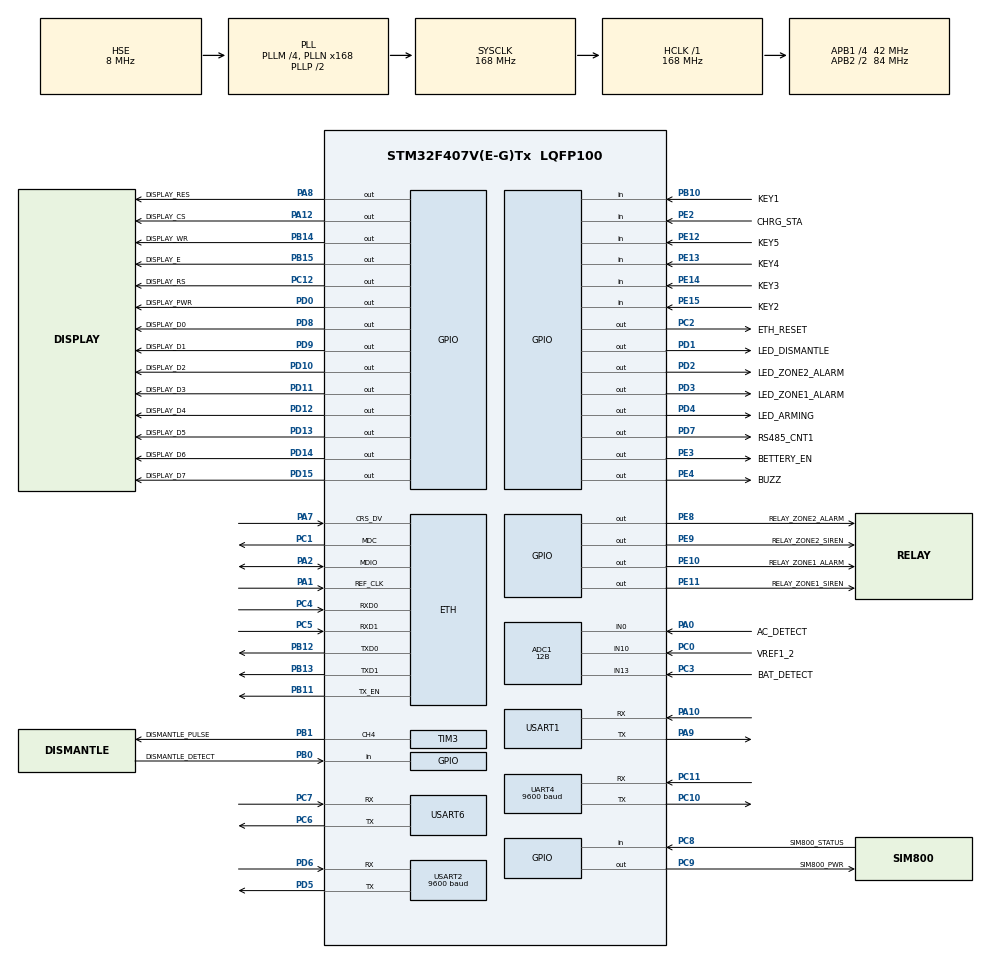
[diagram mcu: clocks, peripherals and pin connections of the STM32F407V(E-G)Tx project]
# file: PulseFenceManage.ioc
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ADC1.Channel-4\#ChannelRegularConversion=ADC_CHANNEL_13
ADC1.ClockPrescaler=ADC_CLOCK_SYNC_PCLK_DIV4
ADC1.ContinuousConvMode=DISABLE
ADC1.DMAContinuousRequests=DISABLE
ADC1.DataAlign=ADC_DATAALIGN_RIGHT
ADC1.DiscontinuousConvMode=DISABLE
ADC1.EOCSelection=ADC_EOC_SINGLE_CONV
ADC1.EnableAnalogWatchDog=false
ADC1.ExternalTrigConv=ADC_SOFTWARE_START
ADC1.ExternalTrigConvEdge=ADC_EXTERNALTRIGCONVEDGE_NONE
ADC1.InjNumberOfConversion=0
ADC1.NbrOfConversion=1
ADC1.NbrOfConversionFlag=1
ADC1.Rank-4\#ChannelRegularConversion=1
ADC1.Resolution=ADC_RESOLUTION_12B
ADC1.SamplingTime-4\#ChannelRegularConversion=ADC_SAMPLETIME_480CYCLES
ADC1.ScanConvMode=DISABLE
ADC1.master=1
ETH.AutoNegotiation=ETH_AUTONEGOTIATION_ENABLE
ETH.MediaInterface=ETH_MEDIA_INTERFACE_RMII
ETH.PHY_DUPLEX_STATUS=0x0010
ETH.PHY_Name_RMII=userPHY
ETH.PHY_SPEED_STATUS=0x0004
ETH.PHY_SR=0x31
ETH.PHY_User_Name=LAN8720A_PHY_ADRESS
ETH.PhyAddress=0
LWIP.GATEWAY_ADDRESS=192.168.019.001
LWIP.IP_ADDRESS=192.168.019.010
LWIP.LWIP_DHCP=0
LWIP.LWIP_TCP=1
LWIP.LWIP_UDP=1
LWIP.NETMASK_ADDRESS=255.255.255.000
LWIP.Version=v2.0.3_Cube
Mcu.Family=STM32F4
Mcu.Name=STM32F407V(E-G)Tx
Mcu.Package=LQFP100
NVIC.ETH_IRQn=true\:0\:0\:false\:false\:true\:true
NVIC.PriorityGroup=NVIC_PRIORITYGROUP_4
NVIC.TIM1_UP_TIM10_IRQn=true\:3\:0\:true\:true\:true\:4\:true
NVIC.UART4_IRQn=true\:2\:0\:true\:true\:true\:3\:true
NVIC.USART1_IRQn=true\:1\:0\:true\:true\:true\:1\:true
NVIC.USART2_IRQn=true\:2\:0\:true\:true\:true\:2\:true
NVIC.USART6_IRQn=true\:2\:0\:true\:false\:true\:true
PA0-WKUP.GPIO_Label=AC_DETECT
PA0-WKUP.Signal=ADCx_IN0
PA1.Mode=RMII
PA1.Signal=ETH_REF_CLK
PA10.Mode=Asynchronous
PA10.Signal=USART1_RX
PA12.GPIO_Label=DISPLAY_CS
PA12.GPIO_ModeDefaultOutputPP=GPIO_MODE_OUTPUT_PP
PA12.GPIO_PuPd=GPIO_NOPULL
PA12.GPIO_Speed=GPIO_SPEED_FREQ_HIGH
PA12.PinState=GPIO_PIN_SET
PA12.Signal=GPIO_Output
PA13.Mode=Trace_Asynchronous_SW
PA13.Signal=SYS_JTMS-SWDIO
PA14.Mode=Trace_Asynchronous_SW
PA14.Signal=SYS_JTCK-SWCLK
PA2.Mode=RMII
PA2.Signal=ETH_MDIO
PA7.Mode=RMII
PA7.Signal=ETH_CRS_DV
PA8.GPIO_Label=DISPLAY_RES
PA8.GPIO_ModeDefaultOutputPP=GPIO_MODE_OUTPUT_PP
PA8.GPIO_PuPd=GPIO_NOPULL
PA8.GPIO_Speed=GPIO_SPEED_FREQ_HIGH
PA8.PinState=GPIO_PIN_RESET
PA8.Signal=GPIO_Output
PA9.Mode=Asynchronous
PA9.Signal=USART1_TX
PB0.GPIO_Label=DISMANTLE_DETECT
PB0.Signal=GPIO_Input
PB1.GPIO_Label=DISMANTLE_PULSE
PB1.Signal=S_TIM3_CH4
PB10.GPIO_Label=KEY1
PB10.GPIO_PuPd=GPIO_PULLUP
PB10.Signal=GPIO_Input
PB11.Mode=RMII
PB11.Signal=ETH_TX_EN
PB12.Mode=RMII
PB12.Signal=ETH_TXD0
PB13.Mode=RMII
PB13.Signal=ETH_TXD1
PB14.GPIO_Label=DISPLAY_WR
PB14.GPIO_ModeDefaultOutputPP=GPIO_MODE_OUTPUT_PP
PB14.GPIO_PuPd=GPIO_NOPULL
PB14.GPIO_Speed=GPIO_SPEED_FREQ_HIGH
PB14.PinState=GPIO_PIN_SET
PB14.Signal=GPIO_Output
PB15.GPIO_Label=DISPLAY_E
PB15.GPIO_ModeDefaultOutputPP=GPIO_MODE_OUTPUT_PP
PB15.GPIO_PuPd=GPIO_NOPULL
PB15.GPIO_Speed=GPIO_SPEED_FREQ_HIGH
PB15.PinState=GPIO_PIN_SET
PB15.Signal=GPIO_Output
PB3.Mode=Trace_Asynchronous_SW
PB3.Signal=SYS_JTDO-SWO
PC0.GPIO_Label=VREF1_2
PC0.Signal=ADCx_IN10
PC1.Mode=RMII
PC1.Signal=ETH_MDC
PC10.Mode=Asynchronous
PC10.Signal=UART4_TX
PC11.Mode=Asynchronous
PC11.Signal=UART4_RX
PC12.GPIO_Label=DISPLAY_RS
PC12.GPIO_Speed=GPIO_SPEED_FREQ_HIGH
PC12.PinState=GPIO_PIN_SET
PC12.Signal=GPIO_Output
PC2.GPIO_Label=ETH_RESET
PC2.GPIO_Speed=GPIO_SPEED_FREQ_LOW
PC2.PinState=GPIO_PIN_SET
PC2.Signal=GPIO_Output
PC3.GPIO_Label=BAT_DETECT
PC3.GPIO_Mode=GPIO_MODE_ANALOG
PC3.GPIO_PuPd=GPIO_NOPULL
PC3.Signal=ADCx_IN13
PC4.Mode=RMII
PC4.Signal=ETH_RXD0
PC5.Mode=RMII
PC5.Signal=ETH_RXD1
PC6.Mode=Asynchronous
PC6.Signal=USART6_TX
PC7.Mode=Asynchronous
PC7.Signal=USART6_RX
PC8.GPIO_Label=SIM800_STATUS
PC8.Signal=GPIO_Input
PC9.GPIO_Label=SIM800_PWR
PC9.GPIO_PuPd=GPIO_NOPULL
PC9.PinState=GPIO_PIN_RESET
PC9.Signal=GPIO_Output
PD0.GPIO_Label=DISPLAY_PWR
PD0.Signal=GPIO_Output
PD1.GPIO_Label=LED_DISMANTLE
PD1.GPIO_ModeDefaultOutputPP=GPIO_MODE_OUTPUT_PP
PD1.GPIO_PuPd=GPIO_NOPULL
PD1.GPIO_Speed=GPIO_SPEED_FREQ_LOW
PD1.PinState=GPIO_PIN_SET
PD1.Signal=GPIO_Output
PD10.GPIO_Label=DISPLAY_D2
PD10.GPIO_ModeDefaultOutputPP=GPIO_MODE_OUTPUT_PP
PD10.GPIO_PuPd=GPIO_NOPULL
PD10.GPIO_Speed=GPIO_SPEED_FREQ_HIGH
PD10.PinState=GPIO_PIN_SET
PD10.Signal=GPIO_Output
PD11.GPIO_Label=DISPLAY_D3
PD11.GPIO_ModeDefaultOutputPP=GPIO_MODE_OUTPUT_PP
PD11.GPIO_PuPd=GPIO_NOPULL
PD11.GPIO_Speed=GPIO_SPEED_FREQ_HIGH
PD11.PinState=GPIO_PIN_SET
PD11.Signal=GPIO_Output
PD12.GPIO_Label=DISPLAY_D4
PD12.GPIO_ModeDefaultOutputPP=GPIO_MODE_OUTPUT_PP
PD12.GPIO_PuPd=GPIO_NOPULL
PD12.GPIO_Speed=GPIO_SPEED_FREQ_HIGH
PD12.PinState=GPIO_PIN_SET
PD12.Signal=GPIO_Output
PD13.GPIO_Label=DISPLAY_D5
PD13.GPIO_ModeDefaultOutputPP=GPIO_MODE_OUTPUT_PP
PD13.GPIO_PuPd=GPIO_NOPULL
PD13.GPIO_Speed=GPIO_SPEED_FREQ_HIGH
PD13.PinState=GPIO_PIN_SET
PD13.Signal=GPIO_Output
PD14.GPIO_Label=DISPLAY_D6
PD14.GPIO_ModeDefaultOutputPP=GPIO_MODE_OUTPUT_PP
PD14.GPIO_PuPd=GPIO_NOPULL
PD14.GPIO_Speed=GPIO_SPEED_FREQ_HIGH
PD14.PinState=GPIO_PIN_SET
PD14.Signal=GPIO_Output
PD15.GPIO_Label=DISPLAY_D7
PD15.GPIO_ModeDefaultOutputPP=GPIO_MODE_OUTPUT_PP
PD15.GPIO_PuPd=GPIO_NOPULL
PD15.GPIO_Speed=GPIO_SPEED_FREQ_HIGH
PD15.PinState=GPIO_PIN_SET
PD15.Signal=GPIO_Output
PD2.GPIO_Label=LED_ZONE2_ALARM
PD2.GPIO_ModeDefaultOutputPP=GPIO_MODE_OUTPUT_PP
PD2.GPIO_PuPd=GPIO_NOPULL
PD2.GPIO_Speed=GPIO_SPEED_FREQ_LOW
PD2.PinState=GPIO_PIN_SET
PD2.Signal=GPIO_Output
PD3.GPIO_Label=LED_ZONE1_ALARM
PD3.GPIO_ModeDefaultOutputPP=GPIO_MODE_OUTPUT_PP
PD3.GPIO_PuPd=GPIO_NOPULL
PD3.GPIO_Speed=GPIO_SPEED_FREQ_LOW
PD3.PinState=GPIO_PIN_SET
PD3.Signal=GPIO_Output
PD4.GPIO_Label=LED_ARMING
PD4.GPIO_ModeDefaultOutputPP=GPIO_MODE_OUTPUT_PP
PD4.GPIO_PuPd=GPIO_NOPULL
PD4.GPIO_Speed=GPIO_SPEED_FREQ_LOW
PD4.PinState=GPIO_PIN_SET
PD4.Signal=GPIO_Output
PD5.Mode=Asynchronous
PD5.Signal=USART2_TX
PD6.Mode=Asynchronous
PD6.Signal=USART2_RX
PD7.GPIO_Label=RS485_CNT1
PD7.GPIO_ModeDefaultOutputPP=GPIO_MODE_OUTPUT_PP
PD7.GPIO_PuPd=GPIO_NOPULL
PD7.GPIO_Speed=GPIO_SPEED_FREQ_LOW
PD7.PinState=GPIO_PIN_RESET
PD7.Signal=GPIO_Output
PD8.GPIO_Label=DISPLAY_D0
PD8.GPIO_ModeDefaultOutputPP=GPIO_MODE_OUTPUT_PP
PD8.GPIO_PuPd=GPIO_NOPULL
PD8.GPIO_Speed=GPIO_SPEED_FREQ_HIGH
PD8.PinState=GPIO_PIN_SET
PD8.Signal=GPIO_Output
PD9.GPIO_Label=DISPLAY_D1
PD9.GPIO_ModeDefaultOutputPP=GPIO_MODE_OUTPUT_PP
PD9.GPIO_PuPd=GPIO_NOPULL
PD9.GPIO_Speed=GPIO_SPEED_FREQ_HIGH
PD9.PinState=GPIO_PIN_SET
PD9.Signal=GPIO_Output
PE10.GPIO_Label=RELAY_ZONE1_ALARM
PE10.PinState=GPIO_PIN_SET
PE10.Signal=GPIO_Output
PE11.GPIO_Label=RELAY_ZONE1_SIREN
PE11.PinState=GPIO_PIN_RESET
PE11.Signal=GPIO_Output
PE12.GPIO_Label=KEY5
PE12.GPIO_PuPd=GPIO_PULLUP
PE12.Signal=GPIO_Input
PE13.GPIO_Label=KEY4
PE13.GPIO_PuPd=GPIO_PULLUP
PE13.Signal=GPIO_Input
PE14.GPIO_Label=KEY3
PE14.GPIO_PuPd=GPIO_PULLUP
PE14.Signal=GPIO_Input
PE15.GPIO_Label=KEY2
PE15.GPIO_PuPd=GPIO_PULLUP
PE15.Signal=GPIO_Input
PE2.GPIO_Label=CHRG_STA
PE2.GPIO_PuPd=GPIO_PULLUP
PE2.Signal=GPIO_Input
PE3.GPIO_Label=BETTERY_EN
PE3.GPIO_ModeDefaultOutputPP=GPIO_MODE_OUTPUT_PP
PE3.GPIO_PuPd=GPIO_NOPULL
PE3.GPIO_Speed=GPIO_SPEED_FREQ_LOW
PE3.PinState=GPIO_PIN_SET
PE3.Signal=GPIO_Output
PE4.GPIO_Label=BUZZ
PE4.Signal=GPIO_Output
PE8.GPIO_Label=RELAY_ZONE2_ALARM
PE8.PinState=GPIO_PIN_SET
PE8.Signal=GPIO_Output
PE9.GPIO_Label=RELAY_ZONE2_SIREN
PE9.PinState=GPIO_PIN_RESET
PE9.Signal=GPIO_Output
PH0-OSC_IN.Mode=HSE-External-Oscillator
PH0-OSC_IN.Signal=RCC_OSC_IN
PH1-OSC_OUT.Mode=HSE-External-Oscillator
PH1-OSC_OUT.Signal=RCC_OSC_OUT
ProjectManager.HeapSize=0x200
ProjectManager.StackSize=0x400
ProjectManager.TargetToolchain=MDK-ARM V5
RCC.48MHZClocksFreq_Value=84000000
RCC.AHBFreq_Value=168000000
RCC.APB1CLKDivider=RCC_HCLK_DIV4
RCC.APB1Freq_Value=42000000
RCC.APB1TimFreq_Value=84000000
RCC.APB2CLKDivider=RCC_HCLK_DIV2
RCC.APB2Freq_Value=84000000
RCC.APB2TimFreq_Value=168000000
RCC.CortexFreq_Value=168000000
RCC.HCLKFreq_Value=168000000
RCC.HSE_VALUE=8000000
RCC.HSI_VALUE=16000000
RCC.LSE_VALUE=32768
RCC.PLLM=4
RCC.PLLN=168
RCC.PLLSourceVirtual=RCC_PLLSOURCE_HSE
RCC.RCC_RTC_Clock_Source=RCC_RTCCLKSOURCE_HSE_DIV8
RCC.RCC_RTC_Clock_SourceVirtual=RCC_RTCCLKSOURCE_LSE
RCC.RCC_RTC_Clock_Source_FROM_HSE=RCC_RTCCLKSOURCE_HSE_DIV8
RCC.SYSCLKFreq_VALUE=168000000
RCC.SYSCLKSource=RCC_SYSCLKSOURCE_PLLCLK
RCC.VCOOutputFreq_Value=336000000
SH.ADCx_IN0.0=ADC1_IN0,IN0
SH.ADCx_IN10.0=ADC1_IN10,IN10
SH.ADCx_IN13.0=ADC1_IN13,IN13
SH.S_TIM3_CH4.0=TIM3_CH4,PWM Generation4 CH4
TIM1.Period=1000
TIM1.Prescaler=168
TIM3.Channel-PWM\ Generation4\ CH4=TIM_CHANNEL_4
TIM3.Period=100 - 1
TIM3.Prescaler=168 - 1
TIM3.Pulse-PWM\ Generation4\ CH4=20
UART4.BaudRate=9600
UART4.VirtualMode=Asynchronous
USART1.VirtualMode=VM_ASYNC
USART2.BaudRate=9600
USART2.VirtualMode=VM_ASYNC
USART6.VirtualMode=VM_ASYNC
VP_LWIP_VS_Enabled.Mode=Enabled
VP_RTC_VS_RTC_Activate.Mode=RTC_Enabled
VP_TIM1_VS_ClockSourceINT.Mode=Internal
board=PulseFenceManage

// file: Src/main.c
/**
  ******************************************************************************
  * @file           : main.c
  * @brief          : Main program body
  ******************************************************************************
  * This notice applies to any and all portions of this file
  * that are not between comment pairs USER CODE BEGIN and
  * USER CODE END. Other portions of this file, whether
  * inserted by the user or by software development tools
  * are owned by their respective copyright owners.
  *
  * Copyright (c) 2018 STMicroelectronics International N.V.
  * All rights reserved.
  *
  * Redistribution and use in source and binary forms, with or without
  * modification, are permitted, provided that the following conditions are met:
  *
  * 1. Redistribution of source code must retain the above copyright notice,
  *    this list of conditions and the following disclaimer.
  * 2. Redistributions in binary form must reproduce the above copyright notice,
  *    this list of conditions and the following disclaimer in the documentation
  *    and/or other materials provided with the distribution.
  * 3. Neither the name of STMicroelectronics nor the names of other
  *    contributors to this software may be used to endorse or promote products
  *    derived from this software without specific written permission.
  * 4. This software, including modifications and/or derivative works of this
  *    software, must execute solely and exclusively on microcontroller or
  *    microprocessor devices manufactured by or for STMicroelectronics.
  * 5. Redistribution and use of this software other than as permitted under
  *    this license is void and will automatically terminate your rights under
  *    this license.
  *
  * THIS SOFTWARE IS PROVIDED BY STMICROELECTRONICS AND CONTRIBUTORS "AS IS"
  * AND ANY EXPRESS, IMPLIED OR STATUTORY WARRANTIES, INCLUDING, BUT NOT
  * LIMITED TO, THE IMPLIED WARRANTIES OF MERCHANTABILITY, FITNESS FOR A
  * PARTICULAR PURPOSE AND NON-INFRINGEMENT OF THIRD PARTY INTELLECTUAL PROPERTY
  * RIGHTS ARE DISCLAIMED TO THE FULLEST EXTENT PERMITTED BY LAW. IN NO EVENT
  * SHALL STMICROELECTRONICS OR CONTRIBUTORS BE LIABLE FOR ANY DIRECT, INDIRECT,
  * INCIDENTAL, SPECIAL, EXEMPLARY, OR CONSEQUENTIAL DAMAGES (INCLUDING, BUT NOT
  * LIMITED TO, PROCUREMENT OF SUBSTITUTE GOODS OR SERVICES; LOSS OF USE, DATA,
  * OR PROFITS; OR BUSINESS INTERRUPTION) HOWEVER CAUSED AND ON ANY THEORY OF
  * LIABILITY, WHETHER IN CONTRACT, STRICT LIABILITY, OR TORT (INCLUDING
  * NEGLIGENCE OR OTHERWISE) ARISING IN ANY WAY OUT OF THE USE OF THIS SOFTWARE,
  * EVEN IF ADVISED OF THE POSSIBILITY OF SUCH DAMAGE.
  *
  ******************************************************************************
  */
#include "main.h"
#include "stm32f4xx_hal.h"
#include "lwip.h"

/* USER CODE BEGIN Includes */
#include "tcp_client.h"
#include "display.h"
#include "keyboard.h"
#include "alarm.h"
#include "battery.h"
#include "max485.h"
#include "sim800c.h"
#include "master_manage.h"
#include "flash.h"
#include "udp_client.h"
/* USER CODE END Includes */

ADC_HandleTypeDef hadc1;

RTC_HandleTypeDef hrtc;

TIM_HandleTypeDef htim1;
TIM_HandleTypeDef htim3;

UART_HandleTypeDef huart4;
UART_HandleTypeDef huart1;
UART_HandleTypeDef huart2;
UART_HandleTypeDef huart6;

/* USER CODE BEGIN PV */
/* Private variables ---------------------------------------------------------*/
extern UART_RX_TypeDef uart6_rx_struct;
extern uint8_t uart6_rx_buff;
extern uint8_t uart1_rx_buff;
extern uint8_t logo_256x160[5120];
/* USER CODE END PV */

void SystemClock_Config(void);
static void MX_GPIO_Init(void);
static void MX_RTC_Init(void);
static void MX_USART1_UART_Init(void);
static void MX_ADC1_Init(void);
static void MX_UART4_Init(void);
static void MX_USART2_UART_Init(void);
static void MX_TIM1_Init(void);
static void MX_USART6_UART_Init(void);
static void MX_TIM3_Init(void);
static void MX_NVIC_Init(void);

void HAL_TIM_MspPostInit(TIM_HandleTypeDef *htim);

/* USER CODE BEGIN PFP */
/* Private function prototypes -----------------------------------------------*/

/* USER CODE END PFP */

int main(void)
{

  /* MCU Configuration----------------------------------------------------------*/

  /* Reset of all peripherals, Initializes the Flash interface and the Systick. */
  HAL_Init();

  /* Configure the system clock */
  SystemClock_Config();

  /* Initialize all configured peripherals */
  MX_GPIO_Init();
  MX_RTC_Init();
  MX_USART1_UART_Init();
  MX_ADC1_Init();
  MX_UART4_Init();
  MX_USART2_UART_Init();
  MX_TIM1_Init();
  MX_USART6_UART_Init();
  MX_TIM3_Init();

  /* Initialize interrupts */
  MX_NVIC_Init();
  /* USER CODE BEGIN 2 */
	HAL_TIM_Base_Start_IT(&htim1);
	HAL_UART_Receive_IT(&huart1, &uart1_rx_buff, 1);
	HAL_UART_Receive_IT(&huart2, &max485_1_receivebuf, 1);
	HAL_UART_Receive_IT(&huart6, &uart6_rx_buff, 1);

	read_data_from_flash();
	MX_LWIP_Init();
	udp_monitor_conf(udp_remote_ip, udp_port_num);
	lcd_init();
	lcd_show_256x160(logo_256x160);
	sim800c_init_flag = sim800c_init(5, 5);
	init_control_uint();
	lcd_show_main_page();
  /* USER CODE END 2 */

  /* Infinite loop */
  while (1)
  {

  /* USER CODE BEGIN 3 */
		MX_LWIP_Process();
		dynamic_lcd_process();
		communication_icon_update_process();
		key_drive();
		demolition_detect_process();
		bettery_manage_process();
		write_flash_process();
		inquire_ctrl_sta_process();
		alarm_sta_detect_process();
		sim800c_process();
  }
  /* USER CODE END 3 */

}

void SystemClock_Config(void)
{

  RCC_OscInitTypeDef RCC_OscInitStruct;
  RCC_ClkInitTypeDef RCC_ClkInitStruct;
  RCC_PeriphCLKInitTypeDef PeriphClkInitStruct;

    /**Configure the main internal regulator output voltage
    */
  __HAL_RCC_PWR_CLK_ENABLE();

  __HAL_PWR_VOLTAGESCALING_CONFIG(PWR_REGULATOR_VOLTAGE_SCALE1);

    /**Initializes the CPU, AHB and APB busses clocks
    */
  RCC_OscInitStruct.OscillatorType = RCC_OSCILLATORTYPE_HSE;
  RCC_OscInitStruct.HSEState = RCC_HSE_ON;
  RCC_OscInitStruct.PLL.PLLState = RCC_PLL_ON;
  RCC_OscInitStruct.PLL.PLLSource = RCC_PLLSOURCE_HSE;
  RCC_OscInitStruct.PLL.PLLM = 4;
  RCC_OscInitStruct.PLL.PLLN = 168;
  RCC_OscInitStruct.PLL.PLLP = RCC_PLLP_DIV2;
  RCC_OscInitStruct.PLL.PLLQ = 4;
  if (HAL_RCC_OscConfig(&RCC_OscInitStruct) != HAL_OK)
  {
    _Error_Handler(__FILE__, __LINE__);
  }

    /**Initializes the CPU, AHB and APB busses clocks
    */
  RCC_ClkInitStruct.ClockType = RCC_CLOCKTYPE_HCLK|RCC_CLOCKTYPE_SYSCLK
                              |RCC_CLOCKTYPE_PCLK1|RCC_CLOCKTYPE_PCLK2;
  RCC_ClkInitStruct.SYSCLKSource = RCC_SYSCLKSOURCE_PLLCLK;
  RCC_ClkInitStruct.AHBCLKDivider = RCC_SYSCLK_DIV1;
  RCC_ClkInitStruct.APB1CLKDivider = RCC_HCLK_DIV4;
  RCC_ClkInitStruct.APB2CLKDivider = RCC_HCLK_DIV2;

  if (HAL_RCC_ClockConfig(&RCC_ClkInitStruct, FLASH_LATENCY_5) != HAL_OK)
  {
    _Error_Handler(__FILE__, __LINE__);
  }

  PeriphClkInitStruct.PeriphClockSelection = RCC_PERIPHCLK_RTC;
  PeriphClkInitStruct.RTCClockSelection = RCC_RTCCLKSOURCE_HSE_DIV8;
  if (HAL_RCCEx_PeriphCLKConfig(&PeriphClkInitStruct) != HAL_OK)
  {
    _Error_Handler(__FILE__, __LINE__);
  }

    /**Configure the Systick interrupt time
    */
  HAL_SYSTICK_Config(HAL_RCC_GetHCLKFreq()/1000);

    /**Configure the Systick
    */
  HAL_SYSTICK_CLKSourceConfig(SYSTICK_CLKSOURCE_HCLK);

  /* SysTick_IRQn interrupt configuration */
  HAL_NVIC_SetPriority(SysTick_IRQn, 0, 0);
}

/**
  * @brief NVIC Configuration.
  * @retval None
  */
static void MX_NVIC_Init(void)
{
  /* USART1_IRQn interrupt configuration */
  HAL_NVIC_SetPriority(USART1_IRQn, 1, 0);
  HAL_NVIC_EnableIRQ(USART1_IRQn);
  /* USART2_IRQn interrupt configuration */
  HAL_NVIC_SetPriority(USART2_IRQn, 2, 0);
  HAL_NVIC_EnableIRQ(USART2_IRQn);
  /* UART4_IRQn interrupt configuration */
  HAL_NVIC_SetPriority(UART4_IRQn, 2, 0);
  HAL_NVIC_EnableIRQ(UART4_IRQn);
  /* TIM1_UP_TIM10_IRQn interrupt configuration */
  HAL_NVIC_SetPriority(TIM1_UP_TIM10_IRQn, 3, 0);
  HAL_NVIC_EnableIRQ(TIM1_UP_TIM10_IRQn);
}

/* ADC1 init function */
static void MX_ADC1_Init(void)
{

  ADC_ChannelConfTypeDef sConfig;

    /**Configure the global features of the ADC (Clock, Resolution, Data Alignment and number of conversion)
    */
  hadc1.Instance = ADC1;
  hadc1.Init.ClockPrescaler = ADC_CLOCK_SYNC_PCLK_DIV4;
  hadc1.Init.Resolution = ADC_RESOLUTION_12B;
  hadc1.Init.ScanConvMode = DISABLE;
  hadc1.Init.ContinuousConvMode = DISABLE;
  hadc1.Init.DiscontinuousConvMode = DISABLE;
  hadc1.Init.ExternalTrigConvEdge = ADC_EXTERNALTRIGCONVEDGE_NONE;
  hadc1.Init.ExternalTrigConv = ADC_SOFTWARE_START;
  hadc1.Init.DataAlign = ADC_DATAALIGN_RIGHT;
  hadc1.Init.NbrOfConversion = 1;
  hadc1.Init.DMAContinuousRequests = DISABLE;
  hadc1.Init.EOCSelection = ADC_EOC_SINGLE_CONV;
  if (HAL_ADC_Init(&hadc1) != HAL_OK)
  {
    _Error_Handler(__FILE__, __LINE__);
  }

    /**Configure for the selected ADC regular channel its corresponding rank in the sequencer and its sample time.
    */
  sConfig.Channel = ADC_CHANNEL_13;
  sConfig.Rank = 1;
  sConfig.SamplingTime = ADC_SAMPLETIME_480CYCLES;
  if (HAL_ADC_ConfigChannel(&hadc1, &sConfig) != HAL_OK)
  {
    _Error_Handler(__FILE__, __LINE__);
  }

}

/* RTC init function */
static void MX_RTC_Init(void)
{

    /**Initialize RTC Only
    */
  hrtc.Instance = RTC;
  hrtc.Init.HourFormat = RTC_HOURFORMAT_24;
  hrtc.Init.AsynchPrediv = 127;
  hrtc.Init.SynchPrediv = 255;
  hrtc.Init.OutPut = RTC_OUTPUT_DISABLE;
  hrtc.Init.OutPutPolarity = RTC_OUTPUT_POLARITY_HIGH;
  hrtc.Init.OutPutType = RTC_OUTPUT_TYPE_OPENDRAIN;
  if (HAL_RTC_Init(&hrtc) != HAL_OK)
  {
    _Error_Handler(__FILE__, __LINE__);
  }

}

/* TIM1 init function */
static void MX_TIM1_Init(void)
{

  TIM_ClockConfigTypeDef sClockSourceConfig;
  TIM_MasterConfigTypeDef sMasterConfig;

  htim1.Instance = TIM1;
  htim1.Init.Prescaler = 168;
  htim1.Init.CounterMode = TIM_COUNTERMODE_UP;
  htim1.Init.Period = 1000;
  htim1.Init.ClockDivision = TIM_CLOCKDIVISION_DIV1;
  htim1.Init.RepetitionCounter = 0;
  if (HAL_TIM_Base_Init(&htim1) != HAL_OK)
  {
    _Error_Handler(__FILE__, __LINE__);
  }

  sClockSourceConfig.ClockSource = TIM_CLOCKSOURCE_INTERNAL;
  if (HAL_TIM_ConfigClockSource(&htim1, &sClockSourceConfig) != HAL_OK)
  {
    _Error_Handler(__FILE__, __LINE__);
  }

  sMasterConfig.MasterOutputTrigger = TIM_TRGO_RESET;
  sMasterConfig.MasterSlaveMode = TIM_MASTERSLAVEMODE_DISABLE;
  if (HAL_TIMEx_MasterConfigSynchronization(&htim1, &sMasterConfig) != HAL_OK)
  {
    _Error_Handler(__FILE__, __LINE__);
  }

}

/* TIM3 init function */
static void MX_TIM3_Init(void)
{

  TIM_MasterConfigTypeDef sMasterConfig;
  TIM_OC_InitTypeDef sConfigOC;

  htim3.Instance = TIM3;
  htim3.Init.Prescaler = 168 - 1;
  htim3.Init.CounterMode = TIM_COUNTERMODE_UP;
  htim3.Init.Period = 100 - 1;
  htim3.Init.ClockDivision = TIM_CLOCKDIVISION_DIV1;
  if (HAL_TIM_PWM_Init(&htim3) != HAL_OK)
  {
    _Error_Handler(__FILE__, __LINE__);
  }

  sMasterConfig.MasterOutputTrigger = TIM_TRGO_RESET;
  sMasterConfig.MasterSlaveMode = TIM_MASTERSLAVEMODE_DISABLE;
  if (HAL_TIMEx_MasterConfigSynchronization(&htim3, &sMasterConfig) != HAL_OK)
  {
    _Error_Handler(__FILE__, __LINE__);
  }

  sConfigOC.OCMode = TIM_OCMODE_PWM1;
  sConfigOC.Pulse = 20;
  sConfigOC.OCPolarity = TIM_OCPOLARITY_HIGH;
  sConfigOC.OCFastMode = TIM_OCFAST_DISABLE;
  if (HAL_TIM_PWM_ConfigChannel(&htim3, &sConfigOC, TIM_CHANNEL_4) != HAL_OK)
  {
    _Error_Handler(__FILE__, __LINE__);
  }

  HAL_TIM_MspPostInit(&htim3);

}

/* UART4 init function */
static void MX_UART4_Init(void)
{

  huart4.Instance = UART4;
  huart4.Init.BaudRate = 9600;
  huart4.Init.WordLength = UART_WORDLENGTH_8B;
  huart4.Init.StopBits = UART_STOPBITS_1;
  huart4.Init.Parity = UART_PARITY_NONE;
  huart4.Init.Mode = UART_MODE_TX_RX;
  huart4.Init.HwFlowCtl = UART_HWCONTROL_NONE;
  huart4.Init.OverSampling = UART_OVERSAMPLING_16;
  if (HAL_UART_Init(&huart4) != HAL_OK)
  {
    _Error_Handler(__FILE__, __LINE__);
  }

}

/* USART1 init function */
static void MX_USART1_UART_Init(void)
{

  huart1.Instance = USART1;
  huart1.Init.BaudRate = 115200;
  huart1.Init.WordLength = UART_WORDLENGTH_8B;
  huart1.Init.StopBits = UART_STOPBITS_1;
  huart1.Init.Parity = UART_PARITY_NONE;
  huart1.Init.Mode = UART_MODE_TX_RX;
  huart1.Init.HwFlowCtl = UART_HWCONTROL_NONE;
  huart1.Init.OverSampling = UART_OVERSAMPLING_16;
  if (HAL_UART_Init(&huart1) != HAL_OK)
  {
    _Error_Handler(__FILE__, __LINE__);
  }

}

/* USART2 init function */
static void MX_USART2_UART_Init(void)
{

  huart2.Instance = USART2;
  huart2.Init.BaudRate = 9600;
  huart2.Init.WordLength = UART_WORDLENGTH_8B;
  huart2.Init.StopBits = UART_STOPBITS_1;
  huart2.Init.Parity = UART_PARITY_NONE;
  huart2.Init.Mode = UART_MODE_TX_RX;
  huart2.Init.HwFlowCtl = UART_HWCONTROL_NONE;
  huart2.Init.OverSampling = UART_OVERSAMPLING_16;
  if (HAL_UART_Init(&huart2) != HAL_OK)
  {
    _Error_Handler(__FILE__, __LINE__);
  }

}

/* USART6 init function */
static void MX_USART6_UART_Init(void)
{

  huart6.Instance = USART6;
  huart6.Init.BaudRate = 115200;
  huart6.Init.WordLength = UART_WORDLENGTH_8B;
  huart6.Init.StopBits = UART_STOPBITS_1;
  huart6.Init.Parity = UART_PARITY_NONE;
  huart6.Init.Mode = UART_MODE_TX_RX;
  huart6.Init.HwFlowCtl = UART_HWCONTROL_NONE;
  huart6.Init.OverSampling = UART_OVERSAMPLING_16;
  if (HAL_UART_Init(&huart6) != HAL_OK)
  {
    _Error_Handler(__FILE__, __LINE__);
  }

}

/** Configure pins as
        * Analog
        * Input
        * Output
        * EVENT_OUT
        * EXTI
*/
static void MX_GPIO_Init(void)
{

  GPIO_InitTypeDef GPIO_InitStruct;

  /* GPIO Ports Clock Enable */
  __HAL_RCC_GPIOE_CLK_ENABLE();
  __HAL_RCC_GPIOH_CLK_ENABLE();
  __HAL_RCC_GPIOC_CLK_ENABLE();
  __HAL_RCC_GPIOA_CLK_ENABLE();
  __HAL_RCC_GPIOB_CLK_ENABLE();
  __HAL_RCC_GPIOD_CLK_ENABLE();

  /*Configure GPIO pin Output Level */
  HAL_GPIO_WritePin(GPIOE, BETTERY_EN_Pin|RELAY_ZONE2_ALARM_Pin|RELAY_ZONE1_ALARM_Pin, GPIO_PIN_SET);

  /*Configure GPIO pin Output Level */
  HAL_GPIO_WritePin(GPIOE, BUZZ_Pin|RELAY_ZONE2_SIREN_Pin|RELAY_ZONE1_SIREN_Pin, GPIO_PIN_RESET);

  /*Configure GPIO pin Output Level */
  HAL_GPIO_WritePin(GPIOC, ETH_RESET_Pin|DISPLAY_RS_Pin, GPIO_PIN_SET);

  /*Configure GPIO pin Output Level */
  HAL_GPIO_WritePin(GPIOB, DISPLAY_WR_Pin|DISPLAY_E_Pin, GPIO_PIN_SET);

  /*Configure GPIO pin Output Level */
  HAL_GPIO_WritePin(GPIOD, DISPLAY_D0_Pin|DISPLAY_D1_Pin|DISPLAY_D2_Pin|DISPLAY_D3_Pin
                          |DISPLAY_D4_Pin|DISPLAY_D5_Pin|DISPLAY_D6_Pin|DISPLAY_D7_Pin
                          |LED_DISMANTLE_Pin|LED_ZONE2_ALARM_Pin|LED_ZONE1_ALARM_Pin|LED_ARMING_Pin, GPIO_PIN_SET);

  /*Configure GPIO pin Output Level */
  HAL_GPIO_WritePin(SIM800_PWR_GPIO_Port, SIM800_PWR_Pin, GPIO_PIN_RESET);

  /*Configure GPIO pin Output Level */
  HAL_GPIO_WritePin(DISPLAY_RES_GPIO_Port, DISPLAY_RES_Pin, GPIO_PIN_RESET);

  /*Configure GPIO pin Output Level */
  HAL_GPIO_WritePin(DISPLAY_CS_GPIO_Port, DISPLAY_CS_Pin, GPIO_PIN_SET);

  /*Configure GPIO pin Output Level */
  HAL_GPIO_WritePin(GPIOD, DISPLAY_PWR_Pin|RS485_CNT1_Pin, GPIO_PIN_RESET);

  /*Configure GPIO pins : CHRG_STA_Pin KEY5_Pin KEY4_Pin KEY3_Pin
                           KEY2_Pin */
  GPIO_InitStruct.Pin = CHRG_STA_Pin|KEY5_Pin|KEY4_Pin|KEY3_Pin
                          |KEY2_Pin;
  GPIO_InitStruct.Mode = GPIO_MODE_INPUT;
  GPIO_InitStruct.Pull = GPIO_PULLUP;
  HAL_GPIO_Init(GPIOE, &GPIO_InitStruct);

  /*Configure GPIO pins : BETTERY_EN_Pin BUZZ_Pin RELAY_ZONE2_ALARM_Pin RELAY_ZONE2_SIREN_Pin
                           RELAY_ZONE1_ALARM_Pin RELAY_ZONE1_SIREN_Pin */
  GPIO_InitStruct.Pin = BETTERY_EN_Pin|BUZZ_Pin|RELAY_ZONE2_ALARM_Pin|RELAY_ZONE2_SIREN_Pin
                          |RELAY_ZONE1_ALARM_Pin|RELAY_ZONE1_SIREN_Pin;
  GPIO_InitStruct.Mode = GPIO_MODE_OUTPUT_PP;
  GPIO_InitStruct.Pull = GPIO_NOPULL;
  GPIO_InitStruct.Speed = GPIO_SPEED_FREQ_LOW;
  HAL_GPIO_Init(GPIOE, &GPIO_InitStruct);

  /*Configure GPIO pins : ETH_RESET_Pin SIM800_PWR_Pin */
  GPIO_InitStruct.Pin = ETH_RESET_Pin|SIM800_PWR_Pin;
  GPIO_InitStruct.Mode = GPIO_MODE_OUTPUT_PP;
  GPIO_InitStruct.Pull = GPIO_NOPULL;
  GPIO_InitStruct.Speed = GPIO_SPEED_FREQ_LOW;
  HAL_GPIO_Init(GPIOC, &GPIO_InitStruct);

  /*Configure GPIO pin : DISMANTLE_DETECT_Pin */
  GPIO_InitStruct.Pin = DISMANTLE_DETECT_Pin;
  GPIO_InitStruct.Mode = GPIO_MODE_INPUT;
  GPIO_InitStruct.Pull = GPIO_NOPULL;
  HAL_GPIO_Init(DISMANTLE_DETECT_GPIO_Port, &GPIO_InitStruct);

  /*Configure GPIO pin : KEY1_Pin */
  GPIO_InitStruct.Pin = KEY1_Pin;
  GPIO_InitStruct.Mode = GPIO_MODE_INPUT;
  GPIO_InitStruct.Pull = GPIO_PULLUP;
  HAL_GPIO_Init(KEY1_GPIO_Port, &GPIO_InitStruct);

  /*Configure GPIO pins : DISPLAY_WR_Pin DISPLAY_E_Pin */
  GPIO_InitStruct.Pin = DISPLAY_WR_Pin|DISPLAY_E_Pin;
  GPIO_InitStruct.Mode = GPIO_MODE_OUTPUT_PP;
  GPIO_InitStruct.Pull = GPIO_NOPULL;
  GPIO_InitStruct.Speed = GPIO_SPEED_FREQ_HIGH;
  HAL_GPIO_Init(GPIOB, &GPIO_InitStruct);

  /*Configure GPIO pins : DISPLAY_D0_Pin DISPLAY_D1_Pin DISPLAY_D2_Pin DISPLAY_D3_Pin
                           DISPLAY_D4_Pin DISPLAY_D5_Pin DISPLAY_D6_Pin DISPLAY_D7_Pin */
  GPIO_InitStruct.Pin = DISPLAY_D0_Pin|DISPLAY_D1_Pin|DISPLAY_D2_Pin|DISPLAY_D3_Pin
                          |DISPLAY_D4_Pin|DISPLAY_D5_Pin|DISPLAY_D6_Pin|DISPLAY_D7_Pin;
  GPIO_InitStruct.Mode = GPIO_MODE_OUTPUT_PP;
  GPIO_InitStruct.Pull = GPIO_NOPULL;
  GPIO_InitStruct.Speed = GPIO_SPEED_FREQ_HIGH;
  HAL_GPIO_Init(GPIOD, &GPIO_InitStruct);

  /*Configure GPIO pin : SIM800_STATUS_Pin */
  GPIO_InitStruct.Pin = SIM800_STATUS_Pin;
  GPIO_InitStruct.Mode = GPIO_MODE_INPUT;
  GPIO_InitStruct.Pull = GPIO_NOPULL;
  HAL_GPIO_Init(SIM800_STATUS_GPIO_Port, &GPIO_InitStruct);

  /*Configure GPIO pins : DISPLAY_RES_Pin DISPLAY_CS_Pin */
  GPIO_InitStruct.Pin = DISPLAY_RES_Pin|DISPLAY_CS_Pin;
  GPIO_InitStruct.Mode = GPIO_MODE_OUTPUT_PP;
  GPIO_InitStruct.Pull = GPIO_NOPULL;
  GPIO_InitStruct.Speed = GPIO_SPEED_FREQ_HIGH;
  HAL_GPIO_Init(GPIOA, &GPIO_InitStruct);

  /*Configure GPIO pin : DISPLAY_RS_Pin */
  GPIO_InitStruct.Pin = DISPLAY_RS_Pin;
  GPIO_InitStruct.Mode = GPIO_MODE_OUTPUT_PP;
  GPIO_InitStruct.Pull = GPIO_NOPULL;
  GPIO_InitStruct.Speed = GPIO_SPEED_FREQ_HIGH;
  HAL_GPIO_Init(DISPLAY_RS_GPIO_Port, &GPIO_InitStruct);

  /*Configure GPIO pins : DISPLAY_PWR_Pin LED_DISMANTLE_Pin LED_ZONE2_ALARM_Pin LED_ZONE1_ALARM_Pin
                           LED_ARMING_Pin RS485_CNT1_Pin */
  GPIO_InitStruct.Pin = DISPLAY_PWR_Pin|LED_DISMANTLE_Pin|LED_ZONE2_ALARM_Pin|LED_ZONE1_ALARM_Pin
                          |LED_ARMING_Pin|RS485_CNT1_Pin;
  GPIO_InitStruct.Mode = GPIO_MODE_OUTPUT_PP;
  GPIO_InitStruct.Pull = GPIO_NOPULL;
  GPIO_InitStruct.Speed = GPIO_SPEED_FREQ_LOW;
  HAL_GPIO_Init(GPIOD, &GPIO_InitStruct);

}

/* USER CODE BEGIN 4 */
void HAL_TIM_PeriodElapsedCallback(TIM_HandleTypeDef *htim)
{
	static uint16_t connect_to_server_cnt = 0;
	static uint16_t dynamic_lcd_cnt = 0;
	static uint32_t demolition_detect_cnt = 0;
	static uint16_t bettery_manage_cnt = 0;
	static uint32_t demolition_alarm_delay_cnt = 0;
	static uint16_t communication_sta_cnt = 0;
	static uint16_t sim800c_try_connect_cnt = 0;
	static uint16_t sim800c_heart_cnt = 0;
	static uint16_t inquire_ctrl_sta_cnt = 0;
	static uint16_t zone1_sta_detect_cnt = 0;
	static uint16_t zone2_sta_detect_cnt = 0;

  /* Prevent unused argument(s) compilation warning */
  UNUSED(htim);
  /* NOTE : This function Should not be modified, when the callback is needed,
            the __HAL_TIM_PeriodElapsedCallback could be implemented in the user file
   */
	if(htim->Instance == htim1.Instance)
	{
		HAL_UART_Receive_IT(&huart1, &uart1_rx_buff, 1);
		HAL_UART_Receive_IT(&huart2, &max485_1_receivebuf, 1);
		HAL_UART_Receive_IT(&huart6, &uart6_rx_buff, 1);

		key_scan();

		if(++connect_to_server_cnt >= 2000)
		{
			connect_to_server_cnt = 0;
			detect_net_sta_mask = 1;
		}

		if(++dynamic_lcd_cnt >= 600)
		{
			dynamic_lcd_cnt = 0;
			dynamic_lcd_mask = 1;
		}

		if(++demolition_detect_cnt >= 5000)
		{
			demolition_detect_cnt = 0;
			demolition_detect_mask = 1;
		}

		if(++bettery_manage_cnt >= 1000)
		{
			bettery_manage_cnt = 0;
			bettery_manage_mask = 1;
		}

		if(++write_flash_time_cnt >= 6000)
		{
			write_flash_time_cnt = 0;
			write_flash_time_mask = 1;
		}

		if(zone1_alarm_reset_flag)
		{
			if(++zone1_alarm_delay_cnt >= zone1_alarm_reset_time)
			{
				zone1_alarm_delay_cnt = 0;
				zone1_alarm_reset_flag = 0;
				alarm_output(ZONE1, RESET_ALARM);
			}
		}

		if(zone2_alarm_reset_flag)
		{
			if(++zone2_alarm_delay_cnt >= zone2_alarm_reset_time)
			{
				zone2_alarm_delay_cnt = 0;
				zone2_alarm_reset_flag = 0;
				alarm_output(ZONE2, RESET_ALARM);
			}
		}

		if(demolition_alarm_reset_flag)
		{
			if(++demolition_alarm_delay_cnt >= demolition_alarm_reset_time)
			{
				demolition_alarm_delay_cnt = 0;
				demolition_alarm_reset_flag = 0;
				if(zone_struct.zone1_sta == DISARMING || zone_struct.zone1_sta == ARMING)
				{
						relay_alarm(ZONE1, RELAY_ON);
				}
				led_dismantle(LED_OFF);
			}
		}

		if(zone1_trigger_flag)
		{
			if(++zone1_trigger_delay_cnt >= zone1_trigger_delay_time)
			{
				zone1_trigger_delay_cnt = 0;
				zone1_trigger_flag = 0;
			}
		}

		if(zone2_trigger_flag)
		{
			if(++zone2_trigger_delay_cnt >= zone2_trigger_delay_time)
			{
				zone2_trigger_delay_cnt = 0;
				zone2_trigger_flag = 0;
			}
		}

		if(communication_sta == COMMUNICATING)
		{
			if(++communication_sta_cnt >= 5000)
			{
				communication_sta_cnt = 0;
				communication_sta = DISCOMMUNICAT;
			}
		}

		if(++sim800c_try_connect_cnt >= 2000)
		{
			sim800c_try_connect_cnt = 0;
			sim800c_try_connect_mask = 1;
		}

		if(wait_tcp_contect_flag)
		{
			if(++wait_tcp_contect_cnt >= 10000)
			{
				wait_tcp_contect_cnt = 0;
				process_step = 6;
				sim800c_link_flag = 0;
			}
		}

		if(++sim800c_heart_cnt >= 5000)
		{
			sim800c_heart_cnt = 0;
			sim800c_heart_mask = 1;
		}

		if(uart6_rx_start)
		{
			if(++uart6_rx_time_cnt >= 2)
			{
				uart6_rx_struct.rx_data[uart6_rx_struct.rx_cnt++] = '\0';
				uart6_rx_start = 0;
				uart6_rx_struct.rx_cnt = 0;
				transparent_data_processing();
			}
		}

		if(++update_communication_icon_cnt >= 200)
		{
			update_communication_icon_cnt = 0;
			update_communication_icon_flag = 1;
		}

		if(++inquire_ctrl_sta_cnt >= 1000)
		{
			inquire_ctrl_sta_cnt = 0;
			inquire_ctrl_sta_flag = 1;
		}

		if(++zone1_sta_detect_cnt >= (zone_struct.zone1_sensitivity == SENSITIVITY_3 ? 900 : zone_struct.zone1_sensitivity == SENSITIVITY_2 ? 2500 : 5000))
		{
			zone1_sta_detect_cnt = 0;
			zone1_sta_detect_flag = 1;
		}

		if(++zone2_sta_detect_cnt >= (zone_struct.zone2_sensitivity == SENSITIVITY_3 ? 900 : zone_struct.zone2_sensitivity == SENSITIVITY_2 ? 2500 : 5000))
		{
			zone2_sta_detect_cnt = 0;
			zone2_sta_detect_flag = 1;
		}
	}
}

void HAL_UART_RxCpltCallback(UART_HandleTypeDef *huart)
{
	static uint8_t uart1_rx_cnt = 0;
	static uint8_t uart1_package_lenth = 0;

	static uint8_t uart2_rx_cnt = 0;
	static uint8_t uart2_package_lenth = 0;

//	uint16_t crc;

  UNUSED(huart);

	if(huart->Instance == huart1.Instance)
	{
		uart1_rx_cnt++;

		if(uart1_rx_cnt == 1)
		{
			if(uart1_rx_buff == 0xA5)
			{
				uart1_rx_data[0] = 0xA5;
			}
			else
			{
				uart1_rx_cnt = 0;
			}
		}
		else if(uart1_rx_cnt == 2)
		{
			if(uart1_rx_buff == 0x5A)
			{
				uart1_rx_data[1] = 0x5A;
			}
			else
			{
				uart1_rx_cnt = 0;
			}
		}
		else if(uart1_rx_cnt == 3)
		{
			uart1_package_lenth = uart1_rx_buff + 5;
			uart1_rx_data[2] = uart1_rx_buff;
		}
		/*后面加上校验位数据判断*/
		else if(uart1_rx_cnt == uart1_package_lenth)
		{
			uart1_rx_data[uart1_rx_cnt - 1] = uart1_rx_buff;
			uart1_rx_cnt = 0;
			uart1_deal(uart1_rx_data);
		}
		else if(uart1_rx_cnt > 50)
		{
			uart1_rx_cnt = 0;
		}
		else
		{
			uart1_rx_data[uart1_rx_cnt - 1] = uart1_rx_buff;
		}
	}

	if(huart->Instance == huart6.Instance)
	{
		if(uart6_rx_struct.rx_enable)		//是否使能接收
		{
			if(!sim800c_link_flag)	//如果没连接到tcp
			{
				if(!uart6_rx_struct.cmd_data_flag)						//是否为命令接收
				{
					uart6_rx_struct.rx_cmd[uart6_rx_struct.rx_cnt++] = uart6_rx_buff;
					if(uart6_rx_buff == '\n')
					{
						uart6_rx_struct.cmd_data_flag = 1;
						uart6_rx_struct.rx_cnt = 0;
					}
				}
				else if(uart6_rx_struct.cmd_data_flag)						//是否为数据接收
				{
					uart6_rx_struct.rx_data[uart6_rx_struct.rx_cnt++] = uart6_rx_buff;
					if(uart6_rx_buff == '\n')
					{
						uart6_rx_struct.cmd_data_flag = 0;
						uart6_rx_struct.rx_cnt = 0;
						uart6_rx_struct.rx_enable = 0;
						uart6_rx_struct.rx_end = 1;
					}
				}
			}
			else	//如果已经连接到tcp服务器
			{
				uart6_rx_start = 1;
				uart6_rx_time_cnt = 0;

				uart6_rx_struct.rx_data[uart6_rx_struct.rx_cnt++] = uart6_rx_buff;
			}
		}
	}
	if(huart->Instance == huart2.Instance)
	{
		uart2_rx_cnt++;

		if(uart2_rx_cnt == 1)
		{
			if(max485_1_receivebuf == 0xE7)
			{
				max485_1_receive_data[0] = 0xE7;
			}
			else
			{
				uart2_rx_cnt = 0;
			}
		}
		else if(uart2_rx_cnt == 2)
		{
			if(max485_1_receivebuf == 0xD9)
			{
				max485_1_receive_data[1] = 0xD9;
			}
			else
			{
				uart2_rx_cnt = 0;
			}
		}
		else if(uart2_rx_cnt == 3)
		{
			if(max485_1_receivebuf == 0xE7)
			{
				max485_1_receive_data[2] = 0xE7;
			}
			else
			{
				uart2_rx_cnt = 0;
			}
		}
		else if(uart2_rx_cnt == 4)
		{
			if(max485_1_receivebuf == 0xD9)
			{
				max485_1_receive_data[3] = 0xD9;
			}
			else
			{
				uart2_rx_cnt = 0;
			}
		}
		else if(uart2_rx_cnt == 5)
		{
			if(max485_1_receivebuf == 0x02)
			{
				max485_1_receive_data[4] = 0x02;
			}
			else
			{
				uart2_rx_cnt = 0;
			}
		}
		else if(uart2_rx_cnt == 6)
		{
			if((max485_1_receivebuf == zone_struct.zone1_id) || (max485_1_receivebuf == 0xFF))
			{
				max485_1_receive_data[5] = max485_1_receivebuf;
			}
			else
			{
				uart2_rx_cnt = 0;
			}
		}
		else if(uart2_rx_cnt == 8)
		{
			uart2_package_lenth = max485_1_receivebuf + 14;
			max485_1_receive_data[7] = max485_1_receivebuf;
		}
		else if(uart2_rx_cnt == uart2_package_lenth - 3)
		{
			if(max485_1_receivebuf == 0xF8)
			{
				max485_1_receive_data[uart2_rx_cnt - 1] = 0xF8;
			}
			else
			{
				uart2_rx_cnt = 0;
			}
		}
		else if(uart2_rx_cnt == uart2_package_lenth - 2)
		{
			if(max485_1_receivebuf == 0xC6)
			{
				max485_1_receive_data[uart2_rx_cnt - 1] = 0xC6;
			}
			else
			{
				uart2_rx_cnt = 0;
			}
		}
		else if(uart2_rx_cnt == uart2_package_lenth - 1)
		{
			if(max485_1_receivebuf == 0xF8)
			{
				max485_1_receive_data[uart2_rx_cnt - 1] = 0xF8;
			}
			else
			{
				uart2_rx_cnt = 0;
			}
		}
		/*后面加上校验位数据判断*/
		else if(uart2_rx_cnt == uart2_package_lenth)
		{
			if(max485_1_receivebuf == 0xC6)
			{
				max485_1_receive_data[uart2_rx_cnt - 1] = 0xC6;
//				crc = CRC16(max485_1_receive_data, uart2_package_lenth - 6);
//				if((max485_1_receive_data[uart1_package_lenth - 6] == (crc >> 8)) && (max485_1_receive_data[uart1_package_lenth - 5] == crc))
//				{
					max_485_1_deal(max485_1_receive_data);
//				}
				uart2_rx_cnt = 0;
			}
		}
		else if(uart2_rx_cnt > 50)
		{
			uart1_rx_cnt = 0;
		}
		else
		{
			max485_1_receive_data[uart2_rx_cnt - 1] = max485_1_receivebuf;
		}
	}
}

/* USER CODE END 4 */

void _Error_Handler(char *file, int line)
{
  while(1)
  {
  }
}

/************************ (C) COPYRIGHT STMicroelectronics *****END OF FILE****/
